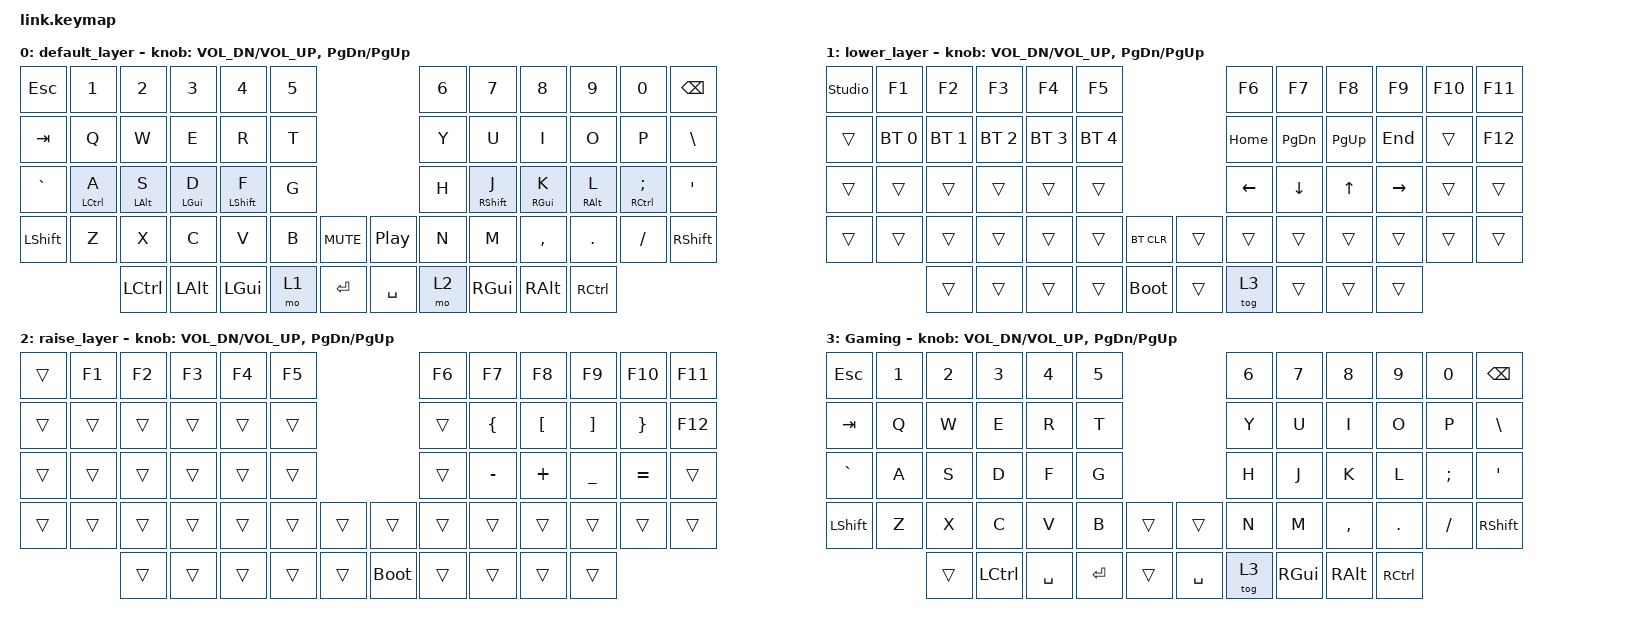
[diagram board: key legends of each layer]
/*
 * Copyright (c) 2020 The ZMK Contributors
 *
 * SPDX-License-Identifier: MIT
 */

#include <behaviors.dtsi>
#include <dt-bindings/zmk/keys.h>
#include <dt-bindings/zmk/bt.h>

/ {
    behaviors {
        // needed for home row mods
        hm: hm {
            compatible = "zmk,behavior-hold-tap";
            #binding-cells = <2>;
            flavor = "balanced";
            require-prior-idle-ms = <150>;
            tapping-term-ms = <280>;
            quick-tap-ms = <175>;
            bindings = <&kp>, <&kp>;
            //hold-trigger-key-positions = < ... >; // List of keys on the right side of the keyboard
            hold-trigger-on-release;
        };
    };

    keymap {
        compatible = "zmk,keymap";

        default_layer {
            bindings = <
&kp ESC       &kp N1         &kp N2        &kp N3        &kp N4         &kp N5                             &kp N6  &kp N7       &kp N8        &kp N9        &kp N0            &kp BSPC
&kp TAB       &kp Q          &kp W         &kp E         &kp R          &kp T                              &kp Y   &kp U        &kp I         &kp O         &kp P             &kp BSLH
&kp GRAVE     &hm LCTRL A    &hm LALT S    &hm LGUI D    &hm LSHFT F    &kp G                              &kp H   &hm RSHFT J  &hm RGUI K    &hm RALT L    &hm RCTRL SEMI    &kp APOS
&kp LSHFT     &kp Z          &kp X         &kp C         &kp V          &kp B     &kp C_MUTE    &kp C_PP   &kp N   &kp M        &kp COMMA     &kp DOT       &kp FSLH          &kp RSHFT
                             &kp LCTRL     &kp LALT      &kp LGUI       &mo 1     &kp RET       &kp SPACE  &mo 2   &kp RGUI     &kp RALT      &kp RCTRL
            >;
            sensor-bindings = <&inc_dec_kp C_VOL_DN C_VOL_UP &inc_dec_kp PG_DN PG_UP>;
        };

        lower_layer {
            bindings = <
&studio_unlock &kp F1          &kp F2           &kp F3          &kp F4          &kp F5                                &kp F6      &kp F7        &kp F8        &kp F9       &kp F10   &kp F11
&trans         &bt BT_SEL 0    &bt BT_SEL 1     &bt BT_SEL 2    &bt BT_SEL 3    &bt BT_SEL 4                          &kp HOME    &kp PG_DN     &kp PG_UP     &kp END      &trans    &kp F12
&trans         &trans          &trans           &trans          &trans          &trans                                &kp LEFT    &kp DOWN      &kp UP        &kp RIGHT    &trans    &trans
&trans         &trans          &trans           &trans          &trans          &trans    &bt BT_CLR        &trans    &trans      &trans        &trans        &trans       &trans    &trans
                               &trans           &trans          &trans          &trans    &bootloader       &trans    &tog 3      &trans        &trans        &trans
            >;
            sensor-bindings = <&inc_dec_kp C_VOL_DN C_VOL_UP &inc_dec_kp PG_DN PG_UP>;
        };

        raise_layer {
            bindings = <
&trans         &kp F1          &kp F2          &kp F3          &kp F4          &kp F5                                       &kp F6    &kp F7       &kp F8      &kp F9            &kp F10      &kp F11
&trans         &trans          &trans          &trans          &trans          &trans                                       &trans    &kp LBRC     &kp LBKT    &kp RBKT          &kp RBRC     &kp F12
&trans         &trans          &trans          &trans          &trans          &trans                                       &trans    &kp MINUS    &kp PLUS    &kp UNDERSCORE    &kp EQUAL    &trans
&trans         &trans          &trans          &trans          &trans          &trans       &trans           &trans         &trans    &trans       &trans      &trans            &trans       &trans
                               &trans          &trans          &trans          &trans       &trans           &bootloader    &trans    &trans       &trans      &trans
            >;
            sensor-bindings = <&inc_dec_kp C_VOL_DN C_VOL_UP &inc_dec_kp PG_DN PG_UP>;
        };

        Gaming {
            bindings = <
&kp ESC       &kp N1         &kp N2        &kp N3        &kp N4         &kp N5                                 &kp N6   &kp N7       &kp N8        &kp N9        &kp N0      &kp BSPC
&kp TAB       &kp Q          &kp W         &kp E         &kp R          &kp T                                  &kp Y    &kp U        &kp I         &kp O         &kp P       &kp BSLH
&kp GRAVE     &kp A          &kp S         &kp D         &kp F          &kp G                                  &kp H    &kp J        &kp K         &kp L         &kp SEMI    &kp APOS
&kp LSHFT     &kp Z          &kp X         &kp C         &kp V          &kp B     &trans            &trans     &kp N    &kp M        &kp COMMA     &kp DOT       &kp FSLH    &kp RSHFT
                             &trans        &kp LCTRL     &kp SPACE      &kp RET   &trans            &kp SPACE  &tog 3   &kp RGUI     &kp RALT      &kp RCTRL
            >;
            sensor-bindings = <&inc_dec_kp C_VOL_DN C_VOL_UP &inc_dec_kp PG_DN PG_UP>;
        };

        // Extra layers
        extra_layer2 {
            status = "reserved";
        };

    };
};
